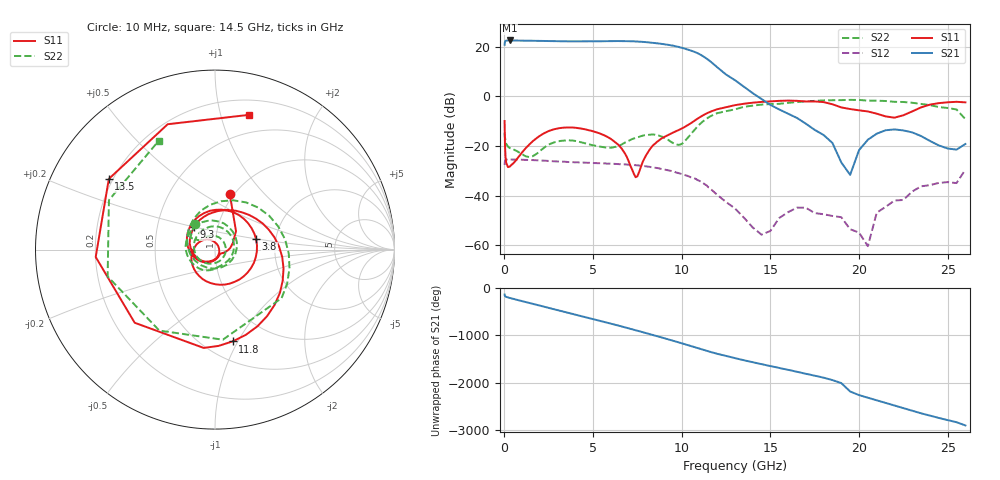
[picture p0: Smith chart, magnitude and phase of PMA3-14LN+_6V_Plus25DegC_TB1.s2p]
!Keysight Technologies,N5245A,MY52442000,A.10.65.16
!Date: Tuesday, January 04, 2022 16:42:59
!Correction: S11(Full 2 Port(1,2))
!S21(Full 2 Port(1,2))
!S12(Full 2 Port(1,2))
!S22(Full 2 Port(1,2))
!S2P File: Measurements: S11, S21, S12, S22:
# Hz S  dB  R 50
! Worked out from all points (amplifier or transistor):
!   157 points, 10 MHz to 26 GHz, reference 50 ohm
!   highest |S21| = 22.6 dB at 300 MHz (marker M1)
!   |S21| within 3 dB of that: start of sweep to 10.03 GHz
!   unconditionally stable (mu >= 1): start of sweep to end of sweep
!   at 1.8 GHz: K = 1.06, MAG = 22.6 dB, |S12| = -25.8 dB
!   at 7 GHz: K = 1.17, MAG = 22.4 dB, |S12| = -27.5 dB
!   at 26 GHz: K = 50.85, MAG = -14.9 dB, |S12| = -29.5 dB
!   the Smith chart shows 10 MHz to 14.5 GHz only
!   S11 on the Smith chart (normalised r, x): 10 MHz: 0.96, +0.66; 3.8 GHz: 1.58, +0.19; 9.3 GHz: 0.77, +0.20; 11.8 GHz: 0.68, -0.95; 13.5 GHz: 0.18, +0.29; 14.5 GHz: 0.33, +1.23
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1e7  -9.92 75.0  20.84 -134.1  -27.66 48.5  -14.72 127.8
3e8  -28.32 -47.9  22.57 153.6  -25.39 -21.9  -20.81 140.0
1.1e9  -21.71 -119.4  22.49 76.6  -25.58 -88.3  -23.75 42.5
1.9e9  -16.37 174.1  22.40 1.0  -25.77 -153.2  -22.67 -84.6
2.9e9  -13.09 89.3  22.26 -93.1  -26.17 127.2  -18.37 164.9
3.8e9  -12.52 14.1  22.20 -177.9  -26.52 55.7  -17.77 86.1
4.4e9  -13.07 -35.0  22.18 125.3  -26.66 8.0  -18.59 39.1
5e9  -14.07 -81.8  22.21 68.2  -26.87 -40.0  -19.72 -3.7
5.6e9  -15.59 -128.5  22.28 10.2  -26.99 -88.7  -20.43 -41.2
6.6e9  -20.91 147.0  22.32 -88.8  -27.33 -170.7  -19.43 -90.7
7.6e9  -30.41 -40.0  22.08 169.3  -27.88 105.8  -16.31 -160.6
8.2e9  -21.35 -128.5  21.75 107.0  -28.41 54.0  -15.43 146.2
8.7e9  -17.85 -176.0  21.35 54.3  -28.97 11.9  -15.79 94.2
9.3e9  -15.39 133.2  20.73 -9.8  -29.91 -40.0  -17.84 18.3
9.9e9  -13.31 85.2  19.82 -75.6  -31.09 -92.7  -19.45 -91.2
1.06e10  -10.39 29.0  18.29 -153.6  -32.73 -154.1  -14.47 139.7
1.18e10  -5.67 -79.1  13.02 71.0  -38.40 98.7  -7.37 -14.3
1.35e10  -2.97 146.3  3.95 -86.0  -48.84 -30.0  -4.20 -166.0
1.45e10  -2.23 75.9  -1.06 -169.4  -55.75 -156.9  -3.31 117.3
1.75e10  -2.03 -127.4  -13.50 -53.1  -47.06 151.2  -1.80 -89.5
2.2e10  -8.57 -120.6  -13.30 33.4  -42.00 -150.6  -2.18 -63.9
2.6e10  -2.39 58.3  -19.19 -28.2  -29.53 -118.4  -9.18 57.7
